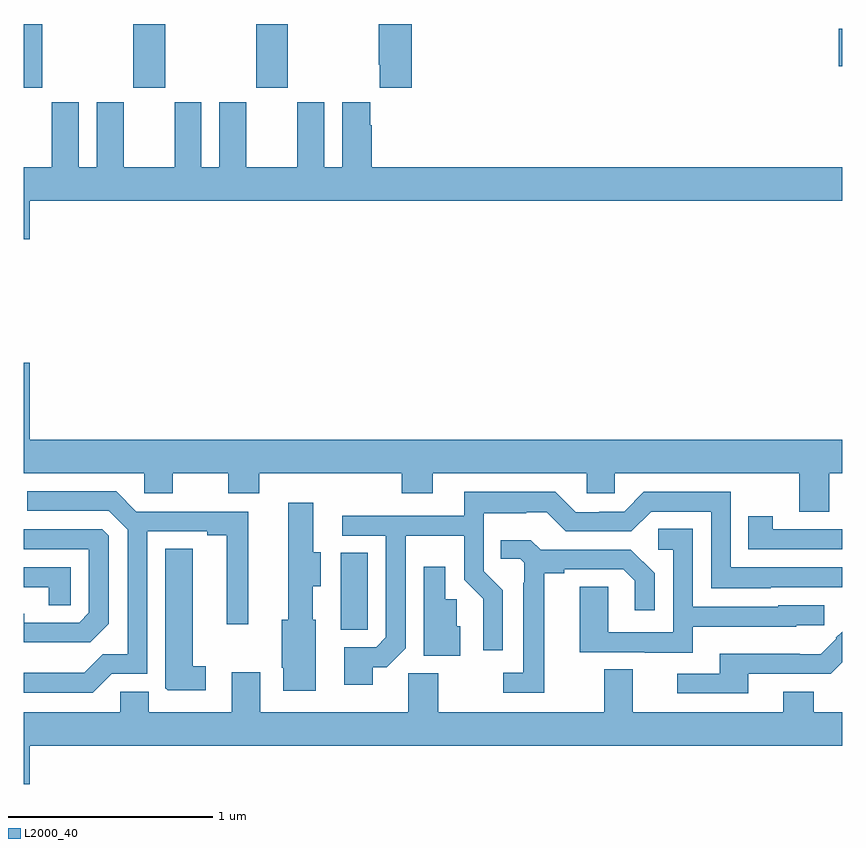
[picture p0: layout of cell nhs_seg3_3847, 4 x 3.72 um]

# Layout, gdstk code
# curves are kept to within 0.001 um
import gdstk
lib = gdstk.Library(unit=1e-6, precision=1e-09)
def R(c, l, rs):  # rectangles x0, y0, x1, y1
    for r in rs: c.add(gdstk.rectangle(r[:2], r[2:], *l))
def P(c, l, *ps):  # polygons
    for p in ps: c.add(gdstk.Polygon(p, *l))
L2000_40 = (2000, 40)

nhs_seg3_3847 = lib.new_cell('nhs_seg3_3847')
R(nhs_seg3_3847, L2000_40, [(309,748.089,309.09,748.4), (309.535,748.089,309.69,748.4), (310.135,748.089,310.29,748.4), (312.984,748.193,313,748.376)])
P(nhs_seg3_3847, L2000_40, [(310.895,748.4),(310.735,748.4),(310.735,748.201),(310.739,748.201),(310.739,748.089),(310.895,748.089)],
  [(309.028,747.536),(313,747.536),(313,747.7),(310.7,747.7),(310.7,747.905),(310.693,747.905),(310.693,748.018),(310.556,748.018),(310.556,747.7),(310.468,747.7),(310.468,748.018),(310.337,748.018),(310.337,747.7),(310.087,747.7),(310.087,748.018),(309.956,748.018),(309.956,747.7),(309.868,747.7),(309.868,748.018),(309.737,748.018),(309.737,747.7),(309.487,747.7),(309.487,748.018),(309.356,748.018),(309.356,747.7),(309.268,747.7),(309.268,748.018),(309.137,748.018),(309.137,747.7),(309,747.7),(309,747.348),(309.028,747.348)],
  [(309.028,746.743),(309,746.743),(309,746.204),(309.588,746.204),(309.588,746.106),(309.727,746.106),(309.727,746.204),(309.998,746.204),(309.998,746.105),(310.151,746.105),(310.151,746.204),(310.847,746.204),(310.847,746.105),(310.999,746.105),(310.999,746.204),(311.751,746.204),(311.751,746.106),(311.889,746.106),(311.889,746.204),(312.79,746.204),(312.79,746.014),(312.937,746.014),(312.937,746.204),(313,746.204),(313,746.368),(309.028,746.368)],
  [(309.429,745.224),(309.603,745.224),(309.603,745.92),(309.896,745.92),(309.896,745.9),(309.992,745.9),(309.992,745.464),(310.096,745.464),(310.096,746.016),(309.55,746.016),(309.451,746.115),(309.015,746.115),(309.015,746.019),(309.414,746.019),(309.507,745.926),(309.507,745.319),(309.386,745.319),(309.295,745.228),(309,745.228),(309,745.131),(309.336,745.131)],
  [(310.705,745.255),(310.773,745.255),(310.866,745.347),(310.866,745.898),(311.154,745.898),(311.154,745.682),(311.246,745.59),(311.246,745.338),(311.34,745.338),(311.34,745.632),(311.247,745.725),(311.247,746.009),(311.456,746.009),(311.456,746.013),(311.556,746.013),(311.649,745.92),(311.97,745.92),(312.066,746.016),(312.36,746.016),(312.36,745.64),(312.651,745.64),(312.651,745.647),(313,745.647),(313,745.743),(312.456,745.743),(312.456,746.112),(312.03,746.112),(311.934,746.016),(311.814,746.016),(311.814,746.013),(311.697,746.013),(311.597,746.113),(311.153,746.113),(311.153,745.995),(310.557,745.995),(310.557,745.899),(310.77,745.899),(310.77,745.401),(310.722,745.353),(310.565,745.353),(310.565,745.17),(310.705,745.17)],
  [(310.426,745.488),(310.411,745.488),(310.411,745.652),(310.45,745.652),(310.45,745.818),(310.414,745.818),(310.414,746.059),(310.292,746.059),(310.292,745.488),(310.261,745.488),(310.261,745.252),(310.268,745.252),(310.268,745.14),(310.426,745.14)],
  [(313,745.929),(312.66,745.929),(312.66,745.993),(312.541,745.993),(312.541,745.833),(313,745.833)],
  [(312.271,745.454),(312.777,745.454),(312.777,745.461),(312.912,745.461),(312.912,745.557),(312.687,745.557),(312.687,745.551),(312.27,745.551),(312.27,745.931),(312.102,745.931),(312.102,745.83),(312.174,745.83),(312.174,745.425),(311.856,745.425),(311.856,745.649),(311.717,745.649),(311.717,745.329),(312.035,745.329),(312.035,745.325),(312.271,745.325)],
  [(309.209,745.378),(309.325,745.378),(309.414,745.467),(309.414,745.899),(309.384,745.929),(309,745.929),(309,745.833),(309.318,745.833),(309.318,745.521),(309.27,745.473),(309.001,745.473),(309,745.516),(309,745.376),(309.209,745.376)],
  [(311.545,745.714),(311.641,745.714),(311.641,745.734),(311.93,745.734),(311.987,745.677),(311.987,745.533),(312.084,745.533),(312.084,745.714),(311.968,745.83),(311.526,745.83),(311.478,745.877),(311.332,745.877),(311.332,745.785),(311.427,745.785),(311.445,745.767),(311.445,745.667),(311.441,745.667),(311.441,745.227),(311.343,745.227),(311.343,745.131),(311.545,745.131)],
  [(309.889,745.259),(309.826,745.259),(309.826,745.835),(309.692,745.835),(309.692,745.153),(309.702,745.143),(309.889,745.143)],
  [(310.68,745.546),(310.681,745.546),(310.681,745.814),(310.55,745.814),(310.55,745.438),(310.68,745.438)],
  [(311.134,745.455),(311.115,745.455),(311.115,745.587),(311.059,745.587),(311.059,745.747),(310.955,745.747),(310.955,745.31),(311.134,745.31)],
  [(309.228,745.743),(309,745.743),(309,745.646),(309.12,745.646),(309.12,745.558),(309.228,745.558)],
  [(312.541,745.224),(312.945,745.224),(313,745.28),(313,745.429),(312.969,745.398),(312.972,745.395),(312.896,745.319),(312.794,745.319),(312.794,745.321),(312.401,745.321),(312.401,745.224),(312.195,745.224),(312.195,745.128),(312.541,745.128)],
  [(309.028,744.872),(313,744.872),(313,745.036),(312.861,745.036),(312.861,745.135),(312.713,745.135),(312.713,745.036),(311.977,745.036),(311.977,745.244),(311.837,745.244),(311.837,745.036),(311.025,745.036),(311.025,745.225),(310.878,745.225),(310.878,745.036),(310.156,745.036),(310.156,745.231),(310.016,745.231),(310.016,745.036),(309.61,745.036),(309.61,745.134),(309.471,745.134),(309.471,745.036),(309,745.036),(309,744.684),(309.028,744.684)])

lib.write_gds('nhs_seg3_3847.gds')
